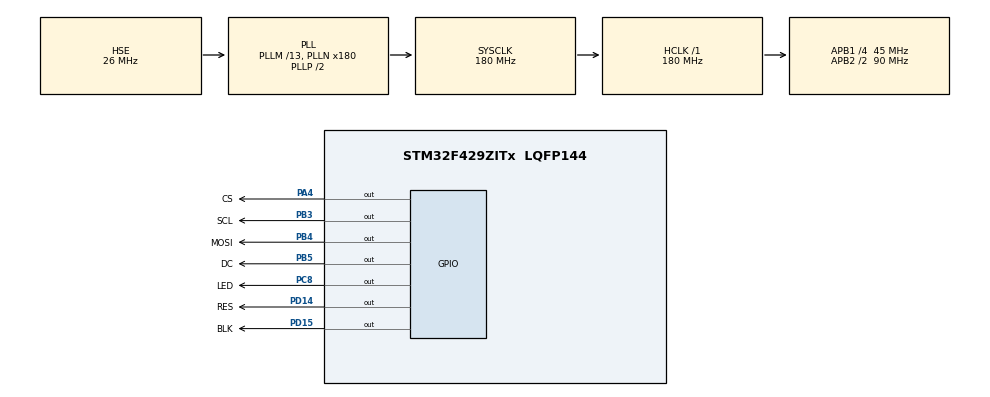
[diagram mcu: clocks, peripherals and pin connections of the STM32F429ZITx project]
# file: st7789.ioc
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FREERTOS.Tasks01=defaultTask,24,128,StartDefaultTask,Default,NULL,Dynamic,NULL,NULL
Mcu.Family=STM32F4
Mcu.Name=STM32F429ZITx
Mcu.Package=LQFP144
NVIC.PriorityGroup=NVIC_PRIORITYGROUP_4
PA13.Mode=Serial_Wire
PA13.Signal=SYS_JTMS-SWDIO
PA14.Mode=Serial_Wire
PA14.Signal=SYS_JTCK-SWCLK
PA4.GPIO_Label=CS
PA4.GPIO_Speed=GPIO_SPEED_FREQ_LOW
PA4.Signal=GPIO_Output
PB3.GPIO_Label=SCL
PB3.GPIO_Speed=GPIO_SPEED_FREQ_LOW
PB3.Signal=GPIO_Output
PB4.GPIO_Label=MOSI
PB4.GPIO_Speed=GPIO_SPEED_FREQ_LOW
PB4.Signal=GPIO_Output
PB5.GPIO_Label=DC
PB5.GPIO_Speed=GPIO_SPEED_FREQ_LOW
PB5.Signal=GPIO_Output
PC8.GPIO_Label=LED
PC8.GPIO_Speed=GPIO_SPEED_FREQ_LOW
PC8.Signal=GPIO_Output
PD14.GPIO_Label=RES
PD14.GPIO_Speed=GPIO_SPEED_FREQ_LOW
PD14.Signal=GPIO_Output
PD15.GPIO_Label=BLK
PD15.GPIO_Speed=GPIO_SPEED_FREQ_LOW
PD15.Signal=GPIO_Output
PH0/OSC_IN.Mode=HSE-External-Oscillator
PH0/OSC_IN.Signal=RCC_OSC_IN
PH1/OSC_OUT.Mode=HSE-External-Oscillator
PH1/OSC_OUT.Signal=RCC_OSC_OUT
ProjectManager.HeapSize=0x200
ProjectManager.StackSize=0x400
ProjectManager.TargetToolchain=MDK-ARM V5.32
RCC.48MHZClocksFreq_Value=51428571.428571425
RCC.AHBFreq_Value=180000000
RCC.APB1CLKDivider=RCC_HCLK_DIV4
RCC.APB1Freq_Value=45000000
RCC.APB1TimFreq_Value=90000000
RCC.APB2CLKDivider=RCC_HCLK_DIV2
RCC.APB2Freq_Value=90000000
RCC.APB2TimFreq_Value=180000000
RCC.CortexFreq_Value=180000000
RCC.HCLKFreq_Value=180000000
RCC.HSE_VALUE=26000000
RCC.HSI_VALUE=16000000
RCC.LSE_VALUE=32768
RCC.PLLM=13
RCC.PLLMUL=RCC_PLL_MUL9
RCC.PLLN=180
RCC.PLLQ=7
RCC.PLLSourceVirtual=RCC_PLLSOURCE_HSE
RCC.PRESCALERUSB=RCC_USBCLKSOURCE_PLL_DIV1_5
RCC.SYSCLKFreq_VALUE=180000000
RCC.SYSCLKSource=RCC_SYSCLKSOURCE_PLLCLK
RCC.SYSCLKSourceVirtual=RCC_SYSCLKSOURCE_PLLCLK
RCC.USBFreq_Value=48000000
RCC.VCOOutputFreq_Value=360000000
VP_FREERTOS_VS_CMSIS_V2.Mode=CMSIS_V2
board=NUCLEO-F429ZI

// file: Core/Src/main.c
/* USER CODE BEGIN Header */
/**
  ******************************************************************************
  * @file           : main.c
  * @brief          : Main program body
  ******************************************************************************
  * @attention
  *
  * Copyright (c) 2024 STMicroelectronics.
  * All rights reserved.
  *
  * This software is licensed under terms that can be found in the LICENSE file
  * in the root directory of this software component.
  * If no LICENSE file comes with this software, it is provided AS-IS.
  *
  ******************************************************************************
  */
/* USER CODE END Header */
#include "main.h"
//#include "cmsis_os.h"
#include "gpio.h"

/* USER CODE BEGIN Includes */
#include "lcd.h"
#include "lcd_init.h"
#include "image.h"
#include "image_2.h"
#include "FreeRTOS.h"
#include "queue.h"
#include "task.h"
/* USER CODE END Includes */

/* USER CODE BEGIN PV */
TaskHandle_t handleBlank;
TaskHandle_t handleST7789;
/* USER CODE END PV */

void SystemClock_Config(void);
//void MX_FREERTOS_Init(void);

/* USER CODE BEGIN 0 */
void taskBlank(void *pvParm){
	while(1){
		HAL_GPIO_TogglePin(GPIOC, LED_Pin);

		vTaskDelay(100);
	}
}

void taskST7789(void *pvParm){
	uint8_t select = 0;

	while(1){
		switch(select){
			case 0:
				LCD_ShowPicture(0,0,240,240,gImage_image);
				select = 1;
				break;

			case 1:
				LCD_ShowPicture(0,0,240,240,gImage_image_2);
				select = 0;
				break;

			default:
				LCD_ShowPicture(0,0,240,240,gImage_image);
				select = 1;
				break;
		}

		vTaskDelay(1000);
	}
}
/* USER CODE END 0 */

int main(void)
{

  /* MCU Configuration--------------------------------------------------------*/

  /* Reset of all peripherals, Initializes the Flash interface and the Systick. */
  HAL_Init();

  /* Configure the system clock */
  SystemClock_Config();

  /* Initialize all configured peripherals */
  MX_GPIO_Init();
  /* USER CODE BEGIN 2 */
	HAL_Delay(100);
	LCD_Init();
	LCD_CS_Clr();
	LCD_Address_Set(0,0,240,240);

	xTaskCreate(taskST7789, "LCD Display", 512, NULL, 1, &handleST7789);
	xTaskCreate(taskBlank, "LED blank", 512, NULL, 1, &handleBlank);

	vTaskStartScheduler();
	//LCD_Fill(0,0,LCD_W,LCD_H,0xFFFF);

  /* USER CODE END 2 */

  /* Init scheduler */
  //osKernelInitialize();  /* Call init function for freertos objects (in freertos.c) */
  //MX_FREERTOS_Init();

  /* Start scheduler */
  //osKernelStart();

  /* We should never get here as control is now taken by the scheduler */
  /* Infinite loop */
  /* USER CODE BEGIN WHILE */
  while (1)
  {
		/*
		LCD_ShowPicture(0,0,240,240,gImage_image);
		HAL_GPIO_TogglePin(GPIOC, LED_Pin);
		HAL_Delay(1000);
		*/
    /* USER CODE END WHILE */

  }
}

void SystemClock_Config(void)
{
  RCC_OscInitTypeDef RCC_OscInitStruct = {0};
  RCC_ClkInitTypeDef RCC_ClkInitStruct = {0};

  /** Configure the main internal regulator output voltage
  */
  __HAL_RCC_PWR_CLK_ENABLE();
  __HAL_PWR_VOLTAGESCALING_CONFIG(PWR_REGULATOR_VOLTAGE_SCALE1);

  /** Initializes the RCC Oscillators according to the specified parameters
  * in the RCC_OscInitTypeDef structure.
  */
  RCC_OscInitStruct.OscillatorType = RCC_OSCILLATORTYPE_HSE;
  RCC_OscInitStruct.HSEState = RCC_HSE_ON;
  RCC_OscInitStruct.PLL.PLLState = RCC_PLL_ON;
  RCC_OscInitStruct.PLL.PLLSource = RCC_PLLSOURCE_HSE;
  RCC_OscInitStruct.PLL.PLLM = 13;
  RCC_OscInitStruct.PLL.PLLN = 180;
  RCC_OscInitStruct.PLL.PLLP = RCC_PLLP_DIV2;
  RCC_OscInitStruct.PLL.PLLQ = 7;
  if (HAL_RCC_OscConfig(&RCC_OscInitStruct) != HAL_OK)
  {
    Error_Handler();
  }

  /** Activate the Over-Drive mode
  */
  if (HAL_PWREx_EnableOverDrive() != HAL_OK)
  {
    Error_Handler();
  }

  /** Initializes the CPU, AHB and APB buses clocks
  */
  RCC_ClkInitStruct.ClockType = RCC_CLOCKTYPE_HCLK|RCC_CLOCKTYPE_SYSCLK
                              |RCC_CLOCKTYPE_PCLK1|RCC_CLOCKTYPE_PCLK2;
  RCC_ClkInitStruct.SYSCLKSource = RCC_SYSCLKSOURCE_PLLCLK;
  RCC_ClkInitStruct.AHBCLKDivider = RCC_SYSCLK_DIV1;
  RCC_ClkInitStruct.APB1CLKDivider = RCC_HCLK_DIV4;
  RCC_ClkInitStruct.APB2CLKDivider = RCC_HCLK_DIV2;

  if (HAL_RCC_ClockConfig(&RCC_ClkInitStruct, FLASH_LATENCY_5) != HAL_OK)
  {
    Error_Handler();
  }
}

void Error_Handler(void)
{
  __disable_irq();
  while (1)
  {
  }
}
